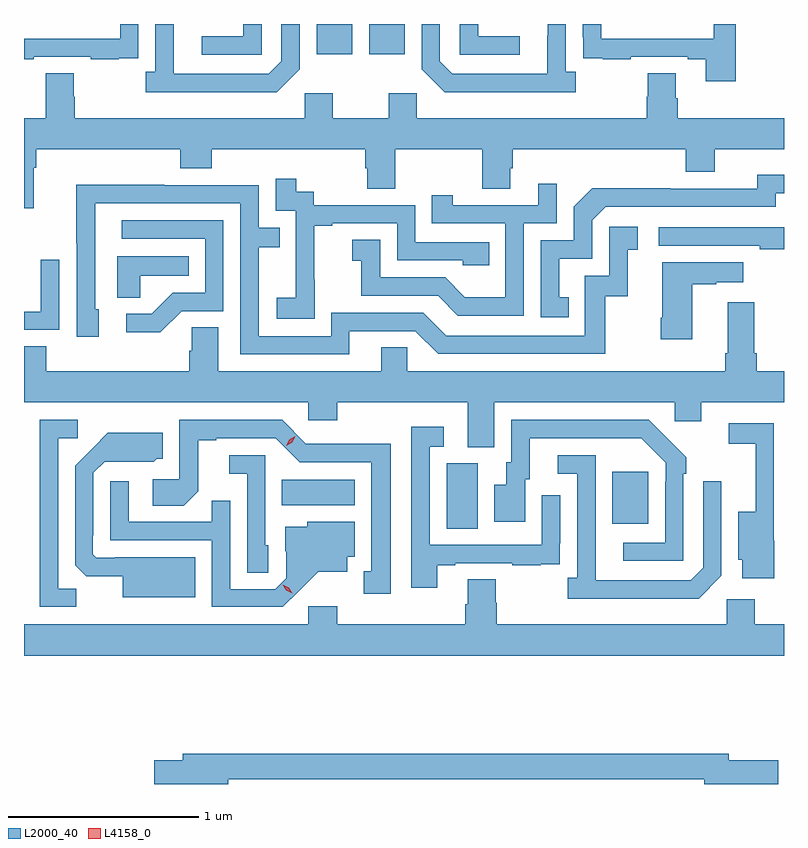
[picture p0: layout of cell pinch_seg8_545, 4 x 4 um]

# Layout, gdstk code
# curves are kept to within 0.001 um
import gdstk
lib = gdstk.Library(unit=1e-6, precision=1e-09)
def R(c, l, rs):  # rectangles x0, y0, x1, y1
    for r in rs: c.add(gdstk.rectangle(r[:2], r[2:], *l))
def P(c, l, *ps):  # polygons
    for p in ps: c.add(gdstk.Polygon(p, *l))
L2000_40 = (2000, 40)
L4158_0 = (4158, 0)

pinch_seg8_545 = lib.new_cell('pinch_seg8_545')
R(pinch_seg8_545, L2000_40, [(143.786,1106.512,143.95,1106.856), (144.659,1106.537,144.847,1106.812), (142.918,1106.636,143.302,1106.77), (143.102,1109.009,143.29,1109.168), (143.378,1109.009,143.566,1109.168)])
P(pinch_seg8_545, L2000_40, [(145.307,1109.168),(145.191,1109.168),(145.191,1109.091),(144.6,1109.091),(144.6,1109.168),(144.504,1109.168),(144.504,1109.098),(144.505,1109.098),(144.505,1108.989),(144.607,1108.989),(144.607,1108.983),(144.755,1108.983),(144.755,1108.995),(145.055,1108.995),(145.055,1108.983),(145.151,1108.983),(145.151,1108.866),(145.307,1108.866)],
  [(141.613,1108.995),(141.913,1108.995),(141.913,1108.983),(142.061,1108.983),(142.061,1108.989),(142.163,1108.989),(142.163,1109.098),(142.164,1109.098),(142.164,1109.168),(142.068,1109.168),(142.068,1109.091),(141.562,1109.091),(141.562,1108.983),(141.613,1108.983)],
  [(142.812,1109.168),(142.716,1109.168),(142.716,1109.103),(142.497,1109.103),(142.497,1109.007),(142.812,1109.007)],
  [(143.013,1108.929),(143.013,1109.168),(142.917,1109.168),(142.917,1108.971),(142.851,1108.905),(142.351,1108.905),(142.35,1109.168),(142.254,1109.168),(142.254,1108.918),(142.203,1108.918),(142.203,1108.808),(142.892,1108.808)],
  [(144.172,1109.103),(143.952,1109.103),(143.952,1109.168),(143.856,1109.168),(143.856,1109.007),(144.172,1109.007)],
  [(144.466,1108.918),(144.414,1108.918),(144.414,1109.168),(144.318,1109.168),(144.317,1108.905),(143.817,1108.905),(143.751,1108.971),(143.751,1109.168),(143.655,1109.168),(143.655,1108.929),(143.776,1108.808),(144.466,1108.808)],
  [(141.613,1108.412),(141.626,1108.412),(141.626,1108.508),(142.385,1108.508),(142.385,1108.409),(142.55,1108.409),(142.55,1108.508),(143.357,1108.508),(143.357,1108.41),(143.369,1108.41),(143.369,1108.3),(143.517,1108.3),(143.517,1108.508),(143.974,1108.508),(143.974,1108.3),(144.121,1108.3),(144.121,1108.41),(144.134,1108.41),(144.134,1108.508),(145.046,1108.508),(145.046,1108.391),(145.198,1108.391),(145.198,1108.508),(145.562,1108.508),(145.562,1108.672),(145.004,1108.672),(145.004,1108.778),(144.991,1108.778),(144.991,1108.91),(144.844,1108.91),(144.844,1108.785),(144.839,1108.785),(144.839,1108.672),(143.628,1108.672),(143.628,1108.804),(143.482,1108.804),(143.482,1108.672),(143.187,1108.672),(143.187,1108.804),(143.04,1108.804),(143.04,1108.672),(141.83,1108.672),(141.83,1108.785),(141.825,1108.785),(141.825,1108.91),(141.677,1108.91),(141.677,1108.672),(141.562,1108.672),(141.562,1108.199),(141.613,1108.199)],
  [(144.428,1107.729),(144.379,1107.729),(144.379,1107.933),(144.552,1107.933),(144.552,1108.134),(144.624,1108.206),(145.518,1108.206),(145.518,1108.278),(145.562,1108.278),(145.562,1108.375),(145.422,1108.375),(145.422,1108.302),(144.962,1108.302),(144.962,1108.304),(144.554,1108.304),(144.456,1108.206),(144.456,1108.029),(144.282,1108.029),(144.282,1107.624),(144.428,1107.624)],
  [(143.091,1107.823),(143.09,1107.823),(143.09,1108.107),(143.185,1108.107),(143.185,1108.119),(143.526,1108.119),(143.526,1107.924),(143.871,1107.924),(143.871,1107.897),(144.011,1107.897),(144.011,1108.02),(143.622,1108.02),(143.622,1108.215),(143.088,1108.215),(143.088,1108.284),(142.996,1108.284),(142.996,1108.354),(142.887,1108.354),(142.887,1108.185),(142.992,1108.185),(142.992,1107.956),(142.991,1107.956),(142.991,1107.727),(142.893,1107.727),(142.893,1107.617),(143.091,1107.617)],
  [(144.192,1108.119),(144.366,1108.119),(144.366,1108.327),(144.269,1108.327),(144.269,1108.215),(143.818,1108.215),(143.818,1108.267),(143.707,1108.267),(143.707,1108.119),(144.096,1108.119),(144.096,1107.73),(143.882,1107.73),(143.778,1107.834),(143.436,1107.834),(143.436,1108.033),(143.289,1108.033),(143.289,1107.923),(143.338,1107.923),(143.338,1107.738),(143.741,1107.738),(143.846,1107.633),(144.192,1107.633)],
  [(143.275,1107.552),(143.622,1107.552),(143.742,1107.432),(144.622,1107.432),(144.622,1107.735),(144.74,1107.735),(144.74,1107.981),(144.793,1107.981),(144.793,1108.102),(144.642,1108.102),(144.642,1107.843),(144.513,1107.843),(144.513,1107.528),(143.784,1107.528),(143.664,1107.648),(143.178,1107.648),(143.178,1107.525),(142.797,1107.525),(142.797,1107.994),(142.907,1107.994),(142.907,1108.095),(142.797,1108.095),(142.797,1108.32),(142.301,1108.32),(142.301,1108.322),(141.838,1108.322),(141.838,1108.015),(141.84,1108.015),(141.84,1107.522),(141.955,1107.522),(141.955,1107.666),(141.936,1107.666),(141.936,1108.224),(142.701,1108.224),(142.701,1107.429),(143.275,1107.429)],
  [(142.392,1107.657),(142.611,1107.657),(142.611,1108.134),(142.077,1108.134),(142.077,1108.038),(142.515,1108.038),(142.515,1107.753),(142.346,1107.753),(142.235,1107.642),(142.101,1107.642),(142.101,1107.545),(142.279,1107.545)],
  [(145.562,1108.098),(144.903,1108.098),(144.903,1108.002),(145.435,1108.002),(145.435,1107.982),(145.562,1107.982)],
  [(142.173,1107.842),(142.43,1107.842),(142.43,1107.946),(142.052,1107.946),(142.052,1107.727),(142.173,1107.727)],
  [(141.747,1107.928),(141.651,1107.928),(141.651,1107.654),(141.562,1107.654),(141.562,1107.558),(141.747,1107.558)],
  [(145.078,1107.799),(145.205,1107.799),(145.205,1107.809),(145.348,1107.809),(145.348,1107.913),(144.92,1107.913),(144.92,1107.622),(144.913,1107.622),(144.913,1107.51),(145.078,1107.51)],
  [(144.037,1107.176),(144.987,1107.176),(144.987,1107.078),(145.126,1107.078),(145.126,1107.176),(145.562,1107.176),(145.562,1107.34),(145.418,1107.34),(145.418,1107.436),(145.405,1107.436),(145.405,1107.703),(145.265,1107.703),(145.265,1107.436),(145.253,1107.436),(145.253,1107.34),(143.58,1107.34),(143.58,1107.467),(143.441,1107.467),(143.441,1107.34),(142.585,1107.34),(142.585,1107.572),(142.446,1107.572),(142.446,1107.449),(142.433,1107.449),(142.433,1107.34),(141.68,1107.34),(141.68,1107.473),(141.562,1107.473),(141.562,1107.176),(143.058,1107.176),(143.058,1107.083),(143.21,1107.083),(143.21,1107.176),(143.897,1107.176),(143.897,1106.941),(144.037,1106.941)],
  [(141.837,1106.195),(141.741,1106.195),(141.741,1106.988),(141.844,1106.988),(141.844,1107.084),(141.645,1107.084),(141.645,1106.1),(141.837,1106.1)],
  [(145.032,1106.801),(145.047,1106.801),(145.047,1106.889),(144.85,1107.084),(144.126,1107.084),(144.126,1106.862),(144.101,1106.862),(144.101,1106.743),(144.038,1106.743),(144.038,1106.547),(144.199,1106.547),(144.199,1106.772),(144.223,1106.772),(144.223,1106.988),(144.811,1106.988),(144.939,1106.859),(144.939,1106.759),(144.936,1106.759),(144.936,1106.439),(144.717,1106.439),(144.717,1106.343),(145.032,1106.343)],
  [(143.491,1106.96),(143.268,1106.96),(143.268,1106.958),(143.046,1106.958),(142.92,1107.084),(142.38,1107.084),(142.38,1106.772),(142.239,1106.772),(142.239,1106.632),(142.403,1106.632),(142.479,1106.708),(142.479,1106.976),(142.573,1106.976),(142.573,1106.988),(142.887,1106.988),(143.013,1106.862),(143.39,1106.862),(143.39,1106.289),(143.351,1106.289),(143.351,1106.169),(143.491,1106.169)],
  [(145.51,1106.449),(145.509,1106.449),(145.509,1107.066),(145.272,1107.066),(145.272,1106.958),(145.412,1106.958),(145.412,1106.602),(145.322,1106.602),(145.322,1106.349),(145.343,1106.349),(145.343,1106.252),(145.51,1106.252)],
  [(143.737,1106.319),(143.833,1106.319),(143.833,1106.331),(144.133,1106.331),(144.133,1106.319),(144.281,1106.319),(144.281,1106.325),(144.383,1106.325),(144.383,1106.434),(144.384,1106.434),(144.384,1106.689),(144.288,1106.689),(144.288,1106.427),(143.697,1106.427),(143.697,1106.943),(143.77,1106.943),(143.77,1107.049),(143.601,1107.049),(143.601,1106.202),(143.737,1106.202)],
  [(142.462,1106.362),(142.042,1106.362),(142.042,1106.358),(141.942,1106.358),(141.924,1106.376),(141.924,1106.476),(141.927,1106.476),(141.927,1106.805),(141.987,1106.865),(142.244,1106.864),(142.26,1106.88),(142.291,1106.88),(142.291,1107.016),(142.003,1107.016),(141.831,1106.842),(141.831,1106.32),(141.89,1106.261),(142.082,1106.261),(142.082,1106.15),(142.462,1106.15)],
  [(142.848,1106.424),(142.833,1106.424),(142.833,1106.898),(142.641,1106.898),(142.641,1106.801),(142.737,1106.801),(142.737,1106.281),(142.848,1106.281)],
  [(145.233,1106.265),(145.233,1106.761),(145.137,1106.761),(145.137,1106.307),(145.071,1106.241),(144.571,1106.241),(144.57,1106.898),(144.372,1106.898),(144.372,1106.802),(144.474,1106.802),(144.474,1106.254),(144.423,1106.254),(144.423,1106.144),(145.112,1106.144)],
  [(143.008,1106.183),(143.111,1106.285),(143.263,1106.285),(143.263,1106.364),(143.302,1106.364),(143.302,1106.548),(143.052,1106.548),(143.052,1106.521),(142.937,1106.521),(142.937,1106.392),(142.941,1106.392),(142.941,1106.25),(142.884,1106.193),(142.647,1106.193),(142.647,1106.66),(142.549,1106.66),(142.549,1106.547),(142.113,1106.547),(142.113,1106.761),(142.017,1106.761),(142.017,1106.451),(142.551,1106.451),(142.551,1106.1),(142.924,1106.1)],
  [(145.562,1106.008),(145.407,1106.008),(145.407,1106.14),(145.26,1106.14),(145.26,1106.008),(144.05,1106.008),(144.05,1106.121),(144.045,1106.121),(144.045,1106.246),(143.897,1106.246),(143.897,1106.114),(143.885,1106.114),(143.885,1106.008),(143.21,1106.008),(143.21,1106.104),(143.058,1106.104),(143.058,1106.008),(141.562,1106.008),(141.562,1105.844),(145.562,1105.844)],
  [(142.636,1105.192),(145.142,1105.192),(145.142,1105.168),(145.531,1105.168),(145.531,1105.292),(145.27,1105.292),(145.27,1105.328),(142.397,1105.328),(142.397,1105.292),(142.248,1105.292),(142.248,1105.168),(142.636,1105.168)])
P(pinch_seg8_545, L4158_0, [(142.941,1106.947),(142.941,1106.948),(142.958,1106.98),(142.99,1106.999),(142.99,1106.999),(142.99,1106.999),(142.973,1106.966),(142.941,1106.947)],
  [(142.973,1106.172),(142.942,1106.188),(142.925,1106.217),(142.925,1106.218),(142.925,1106.218),(142.956,1106.202),(142.973,1106.173),(142.973,1106.172)])

lib.write_gds('pinch_seg8_545.gds')
